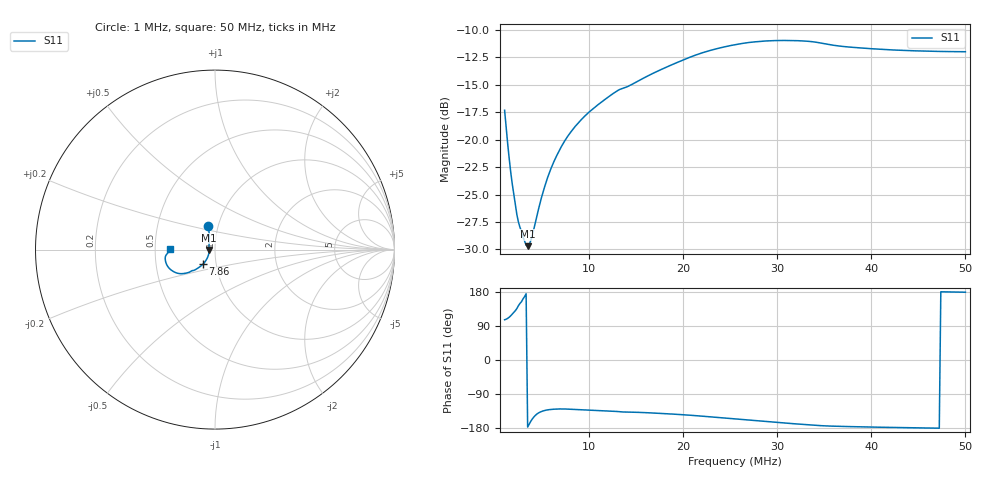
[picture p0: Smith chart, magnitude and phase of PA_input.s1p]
!File created by NanoVNA-F
# Hz S RI R 50
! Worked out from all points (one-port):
!   301 points, 1 MHz to 50 MHz, reference 50 ohm
!   lowest |S11| = -29.7 dB at 3.45 MHz (marker M1), VSWR 1.07, Z = 46.8 - j0.158 ohm
!   |S11| at or under -10 dB: start of sweep to end of sweep
!   S11 on the Smith chart (normalised r, x): 1 MHz: 0.90, +0.24; 7.86 MHz: 0.86, -0.14; 50 MHz: 0.60, +0.01
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1000000  -0.038 0.1308
1326667  -0.0326 0.0901
1653333  -0.0319 0.0633
1816667  -0.0325 0.0536
2306667  -0.0327 0.0316
2470000  -0.0338 0.0252
2960000  -0.034 0.0115
3286667  -0.0329 0.00305
3450000  -0.0327 -0.00169
3613333  -0.0327 -0.0061
3940000  -0.0334 -0.015
4920000  -0.0391 -0.0379
5573333  -0.0446 -0.0503
6226667  -0.0507 -0.0608
7206667  -0.0606 -0.0742
7860000  -0.0675 -0.0814
8840000  -0.0777 -0.0905
9983333  -0.0894 -0.0993
1.325e7  -0.1229 -0.1166
1.945667e7  -0.1817 -0.134
2.239667e7  -0.2158 -0.1295
2.55e7  -0.2465 -0.1121
2.860333e7  -0.2677 -0.0865
3.170667e7  -0.2767 -0.0583
3.497333e7  -0.2723 -0.03
3.775e7  -0.2633 -0.0194
4.395667e7  -0.2544 -0.0059
5e7  -0.2515 0.00493
